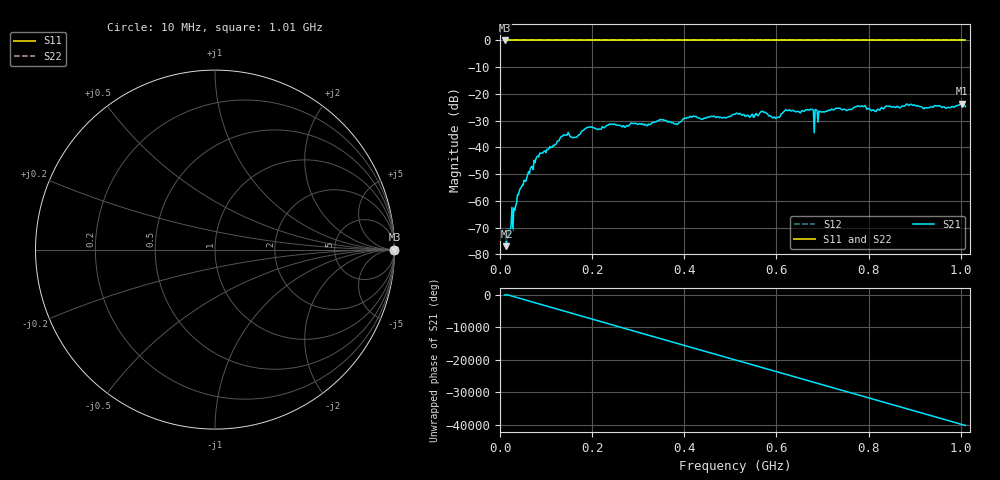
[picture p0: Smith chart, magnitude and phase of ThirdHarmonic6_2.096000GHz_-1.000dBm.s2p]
! 8/17/2025 1:05:04 AM
! C:\ANRITSUVNA\TEMP\TEMP.S2P
! CHANNEL.1
! TR.MEASUREMENT
! RAW.DATA
! RF.CORRECTION.OFF
! AVERAGING.OFF
! IF.BANDWIDTH: 5KHZ
! SWEEPTYPE:  FREQ.SWEEP(Linear)
! Reference Plane Port Info
! PORT:  PORT1  PORT2
! DISTANCE:  0  m  0  m
! TIME:  0  s  0  s
! PHASE.OFFSET:  0  deg.  0  deg.
! LOSS:  0  dB  0  dB
! REF.LOSS:  0  dB  0  dB
! REF.FREQ:  0  Hz  0  Hz
! Power Info
! POWER:  -20  dBm  -20  dBm
! EFF.POWER:  -20  dBm  -20  dBm
! SOURCE.ATTEN:  0  dB  0  dB
! TEST.ATTEN:  0  dB  0  dB
# GHZ S RI R 50.0
! FREQ.GHZ  S11RE  S11IM  S21RE  S21IM  S12RE  S12IM  S22RE  S22IM
!; PortSelection: Port_12
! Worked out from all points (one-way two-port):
!   501 points, 10 MHz to 1.01 GHz, reference 50 ohm
!   highest |S21| = -23.66 dB at 1.002 GHz (marker M1); lowest = -76.9 dB at 14 MHz (marker M2)
!   lowest |S11| = 0.0 dB at 10 MHz (marker M3)
!   |S11| at or under -10 dB: nowhere
!   |S22| runs from 0.0 to 0.0 dB; largest |S21 - S12| = 1.1
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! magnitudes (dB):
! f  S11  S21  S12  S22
! 10 MHz  0.0  -72.2  0.0  0.0
! 14 MHz  0.0  -76.9  0.0  0.0
! 18 MHz  0.0  -70.5  0.0  0.0
! 42 MHz  0.0  -56.2  0.0  0.0
! 78 MHz  0.0  -44.2  0.0  0.0
! 136 MHz  0.0  -35.7  0.0  0.0
! 162 MHz  0.0  -36.2  0.0  0.0
! 178 MHz  0.0  -33.8  0.0  0.0
! 192 MHz  0.0  -32.5  0.0  0.0
! 344 MHz  0.0  -29.9  0.0  0.0
! 382 MHz  0.0  -31.2  0.0  0.0
! 416 MHz  0.0  -28.7  0.0  0.0
! 510 MHz  0.0  -27.6  0.0  0.0
! 546 MHz  0.0  -27.8  0.0  0.0
! 570 MHz  0.0  -26.5  0.0  0.0
! 602 MHz  0.0  -28.8  0.0  0.0
! 624 MHz  0.0  -26.2  0.0  0.0
! 674 MHz  0.0  -25.7  0.0  0.0
! 678 MHz  0.0  -25.8  0.0  0.0
! 844 MHz  0.0  -24.6  0.0  0.0
! 1.002 GHz  0.0  -23.7  0.0  0.0
! 1.01 GHz  0.0  -24.8  0.0  0.0
